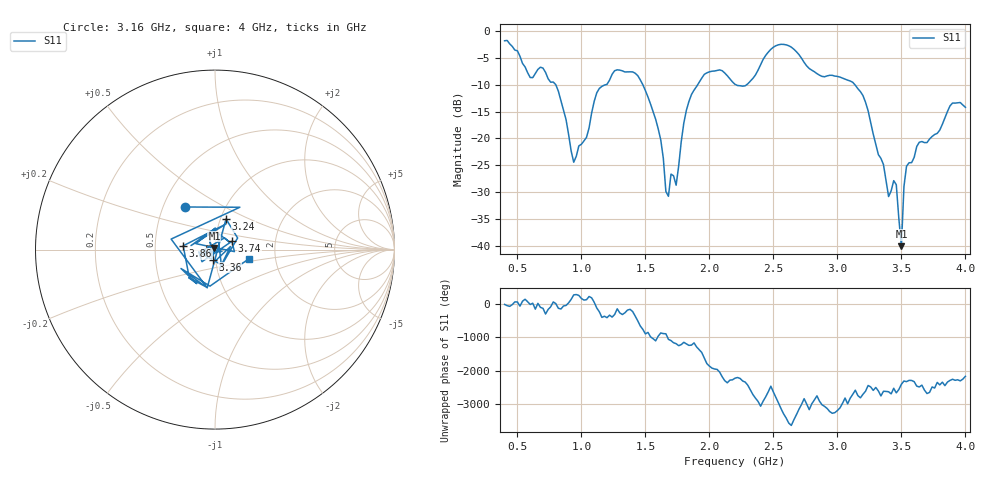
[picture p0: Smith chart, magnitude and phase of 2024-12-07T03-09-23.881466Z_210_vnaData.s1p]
!Created with skrf (http://scikit-rf.org).
# Hz S RI R 50.0
!freq ReS11 ImS11
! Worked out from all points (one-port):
!   181 points, 400 MHz to 4 GHz, reference 50 ohm
!   lowest |S11| = -40.1 dB at 3.5 GHz (marker M1), VSWR 1.02, Z = 49.7 + j0.935 ohm
!   |S11| at or under -10 dB: 800.7 MHz to 1.184 GHz (383 MHz wide, 38.6 % of centre); 1.481 GHz to 1.907 GHz (426.7 MHz wide, 25.2 % of centre); 3.138 GHz to end of sweep (the widest 3 of 4)
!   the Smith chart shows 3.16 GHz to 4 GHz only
!   S11 on the Smith chart (normalised r, x): 3.16 GHz: 0.64, +0.33; 3.24 GHz: 1.06, +0.38; 3.36 GHz: 0.97, -0.11; 3.74 GHz: 1.20, +0.11; 3.86 GHz: 0.70, +0.03; 4 GHz: 1.46, -0.16
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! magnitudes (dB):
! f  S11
! 400 MHz  -1.8
! 600 MHz  -8.6
! 700 MHz  -6.9
! 860 MHz  -14.8
! 940 MHz  -24.4
! 1.12 GHz  -11.5
! 1.3 GHz  -7.2
! 1.52 GHz  -12.2
! 1.62 GHz  -20.3
! 1.68 GHz  -30.8
! 1.7 GHz  -26.7
! 1.76 GHz  -25.1
! 1.82 GHz  -14.7
! 1.96 GHz  -8.0
! 2.2 GHz  -9.9
! 2.66 GHz  -3.3
! 3.1 GHz  -9.3
! 3.16 GHz  -10.7
! 3.24 GHz  -14.8
! 3.36 GHz  -24.9
! 3.4 GHz  -30.8
! 3.46 GHz  -28.6
! 3.5 GHz  -40.1
! 3.52 GHz  -29.0
! 3.56 GHz  -24.5
! 3.74 GHz  -19.6
! 3.86 GHz  -15.0
! 4 GHz  -14.2
